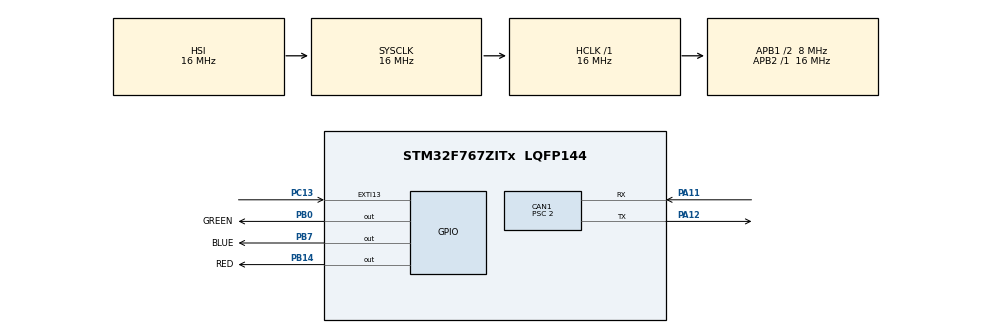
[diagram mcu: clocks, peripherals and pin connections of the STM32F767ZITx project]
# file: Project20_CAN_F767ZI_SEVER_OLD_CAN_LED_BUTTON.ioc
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CAN1.BS1=CAN_BS1_13TQ
CAN1.BS2=CAN_BS2_2TQ
CAN1.CalculateTimeQuantum=250.0
CAN1.Prescaler=2
Mcu.Family=STM32F7
Mcu.Name=STM32F767ZITx
Mcu.Package=LQFP144
NVIC.CAN1_RX0_IRQn=true\:0\:0\:false\:false\:true\:true\:true
NVIC.EXTI15_10_IRQn=true\:1\:0\:true\:false\:true\:true\:true
NVIC.PriorityGroup=NVIC_PRIORITYGROUP_4
PA11.Mode=Master
PA11.Signal=CAN1_RX
PA12.Mode=Master
PA12.Signal=CAN1_TX
PB0.GPIO_Label=GREEN
PB0.Signal=GPIO_Output
PB14.GPIO_Label=RED
PB14.Signal=GPIO_Output
PB7.GPIO_Label=BLUE
PB7.Signal=GPIO_Output
PC13.Signal=GPXTI13
PH0/OSC_IN.Mode=HSE-External-Oscillator
PH0/OSC_IN.Signal=RCC_OSC_IN
PH1/OSC_OUT.Mode=HSE-External-Oscillator
PH1/OSC_OUT.Signal=RCC_OSC_OUT
ProjectManager.HeapSize=0x200
ProjectManager.StackSize=0x400
ProjectManager.TargetToolchain=EWARM V8
RCC.48MHZClocksFreq_Value=24000000
RCC.AHBFreq_Value=16000000
RCC.APB1CLKDivider=RCC_HCLK_DIV2
RCC.APB1Freq_Value=8000000
RCC.APB1TimFreq_Value=16000000
RCC.APB2Freq_Value=16000000
RCC.APB2TimFreq_Value=16000000
RCC.CortexFreq_Value=16000000
RCC.HCLKFreq_Value=16000000
RCC.HSE_VALUE=16000000
RCC.HSI_VALUE=16000000
RCC.LSE_VALUE=32768
RCC.PLLMUL=RCC_PLL_MUL9
RCC.PRESCALERUSB=RCC_USBCLKSOURCE_PLL_DIV1_5
RCC.SYSCLKFreq_VALUE=16000000
RCC.SYSCLKSourceVirtual=RCC_SYSCLKSOURCE_PLLCLK
RCC.USBFreq_Value=96000000
RCC.VCOOutputFreq_Value=192000000
board=NUCLEO-F767ZI

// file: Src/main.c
/* USER CODE BEGIN Header */
/**
  ******************************************************************************
  * @file           : main.c
  * @brief          : Main program body
  ******************************************************************************
  * @attention
  *
  * <h2><center>&copy; Copyright (c) 2021 STMicroelectronics.
  * All rights reserved.</center></h2>
  *
  * This software component is licensed by ST under BSD 3-Clause license,
  * the "License"; You may not use this file except in compliance with the
  * License. You may obtain a copy of the License at:
  *                        opensource.org/licenses/BSD-3-Clause
  *
  ******************************************************************************
  */
/* USER CODE END Header */

#include "main.h"

CAN_HandleTypeDef hcan1;

/* USER CODE BEGIN PV */
CanTxMsgTypeDef TxM;
CanRxMsgTypeDef RxM;
CAN_FilterConfTypeDef sFilterConfig;
uint8_t a, b;
/* USER CODE END PV */

void SystemClock_Config(void);
static void MX_GPIO_Init(void);
static void MX_CAN1_Init(void);

int main(void)
{

  /* MCU Configuration--------------------------------------------------------*/

  /* Reset of all peripherals, Initializes the Flash interface and the Systick. */
  HAL_Init();

  /* Configure the system clock */
  SystemClock_Config();

  /* Initialize all configured peripherals */
  MX_GPIO_Init();
  MX_CAN1_Init();
  /* USER CODE BEGIN 2 */
hcan1.pTxMsg=&TxM;
hcan1.pRxMsg=&RxM;

sFilterConfig.FilterNumber=0;
sFilterConfig.FilterMode=CAN_FILTERMODE_IDLIST; // ((uint8_t) 0x01U)
sFilterConfig.FilterScale=CAN_FILTERSCALE_32BIT; //(uint8_t) 0x01U)
sFilterConfig.FilterIdHigh=0x245<<5;
sFilterConfig.FilterMaskIdHigh=0;
sFilterConfig.FilterMaskIdLow=0;
sFilterConfig.FilterFIFOAssignment=0;
sFilterConfig.BankNumber=14;

HAL_CAN_ConfigFilter(&hcan1, &sFilterConfig);

hcan1.pTxMsg->StdId=0x244;
hcan1.pTxMsg->RTR=CAN_RTR_DATA;
hcan1.pTxMsg->IDE=CAN_ID_STD;
hcan1.pTxMsg->DLC=1;

HAL_CAN_Receive_IT(&hcan1, CAN_FIFO0);
  /* USER CODE END 2 */

  /* Infinite loop */
  while (1)
  {

  }
}

void SystemClock_Config(void)
{
  RCC_OscInitTypeDef RCC_OscInitStruct = {0};
  RCC_ClkInitTypeDef RCC_ClkInitStruct = {0};

  /** Configure the main internal regulator output voltage
  */
  __HAL_RCC_PWR_CLK_ENABLE();
  __HAL_PWR_VOLTAGESCALING_CONFIG(PWR_REGULATOR_VOLTAGE_SCALE3);
  /** Initializes the CPU, AHB and APB busses clocks
  */
  RCC_OscInitStruct.OscillatorType = RCC_OSCILLATORTYPE_HSI;
  RCC_OscInitStruct.HSIState = RCC_HSI_ON;
  RCC_OscInitStruct.HSICalibrationValue = RCC_HSICALIBRATION_DEFAULT;
  RCC_OscInitStruct.PLL.PLLState = RCC_PLL_NONE;
  if (HAL_RCC_OscConfig(&RCC_OscInitStruct) != HAL_OK)
  {
    Error_Handler();
  }
  /** Initializes the CPU, AHB and APB busses clocks
  */
  RCC_ClkInitStruct.ClockType = RCC_CLOCKTYPE_HCLK|RCC_CLOCKTYPE_SYSCLK
                              |RCC_CLOCKTYPE_PCLK1|RCC_CLOCKTYPE_PCLK2;
  RCC_ClkInitStruct.SYSCLKSource = RCC_SYSCLKSOURCE_HSI;
  RCC_ClkInitStruct.AHBCLKDivider = RCC_SYSCLK_DIV1;
  RCC_ClkInitStruct.APB1CLKDivider = RCC_HCLK_DIV2;
  RCC_ClkInitStruct.APB2CLKDivider = RCC_HCLK_DIV1;

  if (HAL_RCC_ClockConfig(&RCC_ClkInitStruct, FLASH_LATENCY_0) != HAL_OK)
  {
    Error_Handler();
  }
}

static void MX_CAN1_Init(void)
{

  hcan1.Instance = CAN1;
  hcan1.Init.Prescaler = 2;
  hcan1.Init.Mode = CAN_MODE_NORMAL;
  hcan1.Init.SJW = CAN_SJW_1TQ;
  hcan1.Init.BS1 = CAN_BS1_13TQ;
  hcan1.Init.BS2 = CAN_BS2_2TQ;
  hcan1.Init.TTCM = DISABLE;
  hcan1.Init.ABOM = DISABLE;
  hcan1.Init.AWUM = DISABLE;
  hcan1.Init.NART  = DISABLE;
  hcan1.Init.RFLM  = DISABLE;
  hcan1.Init.TXFP = DISABLE;
  if (HAL_CAN_Init(&hcan1) != HAL_OK)
  {
    Error_Handler();
  }

}

static void MX_GPIO_Init(void)
{
  GPIO_InitTypeDef GPIO_InitStruct = {0};

  /* GPIO Ports Clock Enable */
  __HAL_RCC_GPIOC_CLK_ENABLE();
  __HAL_RCC_GPIOH_CLK_ENABLE();
  __HAL_RCC_GPIOB_CLK_ENABLE();
  __HAL_RCC_GPIOA_CLK_ENABLE();

  /*Configure GPIO pin Output Level */
  HAL_GPIO_WritePin(GPIOB, GREEN_Pin|RED_Pin|BLUE_Pin, GPIO_PIN_RESET);

  /*Configure GPIO pin : PC13 */
  GPIO_InitStruct.Pin = GPIO_PIN_13;
  GPIO_InitStruct.Mode = GPIO_MODE_IT_RISING;
  GPIO_InitStruct.Pull = GPIO_NOPULL;
  HAL_GPIO_Init(GPIOC, &GPIO_InitStruct);

  /*Configure GPIO pins : GREEN_Pin RED_Pin BLUE_Pin */
  GPIO_InitStruct.Pin = GREEN_Pin|RED_Pin|BLUE_Pin;
  GPIO_InitStruct.Mode = GPIO_MODE_OUTPUT_PP;
  GPIO_InitStruct.Pull = GPIO_NOPULL;
  GPIO_InitStruct.Speed = GPIO_SPEED_FREQ_LOW;
  HAL_GPIO_Init(GPIOB, &GPIO_InitStruct);

  /* EXTI interrupt init*/
  HAL_NVIC_SetPriority(EXTI15_10_IRQn, 1, 0);
  HAL_NVIC_EnableIRQ(EXTI15_10_IRQn);

}

void Error_Handler(void)
{
}

/************************ (C) COPYRIGHT STMicroelectronics *****END OF FILE****/
